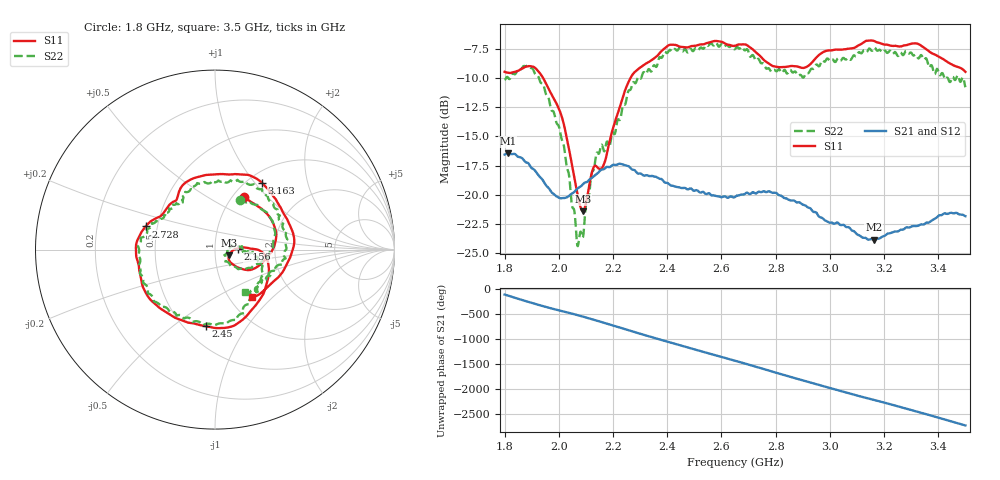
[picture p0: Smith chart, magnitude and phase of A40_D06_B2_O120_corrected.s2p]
! Created with skrf 1.9.0 (http://scikit-rf.org).
# Hz S RI R 50.0
!freq ReS11 ImS11 ReS21 ImS21 ReS12 ImS12 ReS22 ImS22
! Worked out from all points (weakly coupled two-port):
!   1601 points, 1.8 GHz to 3.5 GHz, reference 50 ohm
!   highest |S21| = -16.46 dB at 1.812 GHz (marker M1); lowest = -23.8 dB at 3.162 GHz (marker M2)
!   lowest |S11| = -21.4 dB at 2.089 GHz (marker M3), VSWR 1.19, Z = 58.4 - j3.77 ohm
!   |S11| at or under -10 dB: 1.942 GHz to 2.264 GHz (322.1 MHz wide, 15.3 % of centre)
!   |S22| runs from -24.4 to -7.0 dB; largest |S21 - S12| = 0.0025
!   S11 on the Smith chart (normalised r, x): 1.8 GHz: 1.12, +0.75; 2.156 GHz: 1.30, +0.01; 2.45 GHz: 0.63, -0.66; 2.728 GHz: 0.43, +0.13; 3.163 GHz: 1.16, +1.09; 3.5 GHz: 1.27, -0.76
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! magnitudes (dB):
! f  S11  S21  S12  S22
! 1.8 GHz  -9.5  -16.6  -16.6  -10.2
! 1.812 GHz  -9.5  -16.5  -16.5  -9.9
! 1.883 GHz  -9.0  -17.2  -17.3  -8.9
! 1.942 GHz  -10.0  -18.8  -18.8  -10.5
! 2.013 GHz  -13.4  -20.3  -20.3  -15.4
! 2.067 GHz  -19.7  -19.5  -19.5  -24.1
! 2.084 GHz  -21.3  -19.2  -19.2  -23.3
! 2.089 GHz  -21.4  -19.1  -19.1  -23.6
! 2.127 GHz  -17.7  -18.5  -18.4  -17.9
! 2.156 GHz  -17.8  -17.9  -17.9  -15.8
! 2.19 GHz  -15.2  -17.6  -17.6  -15.6
! 2.261 GHz  -10.2  -17.6  -17.6  -11.0
! 2.367 GHz  -8.0  -18.6  -18.5  -8.5
! 2.45 GHz  -7.3  -19.4  -19.4  -7.5
! 2.65 GHz  -7.2  -20.2  -20.1  -7.5
! 2.728 GHz  -7.8  -19.9  -19.9  -8.5
! 2.934 GHz  -8.7  -21.3  -21.3  -9.2
! 3.162 GHz  -6.8  -23.8  -23.8  -7.5
! 3.163 GHz  -6.8  -23.8  -23.8  -7.4
! 3.217 GHz  -7.2  -23.3  -23.3  -7.7
! 3.324 GHz  -7.1  -22.7  -22.6  -8.2
! 3.5 GHz  -9.5  -21.8  -21.8  -10.8
